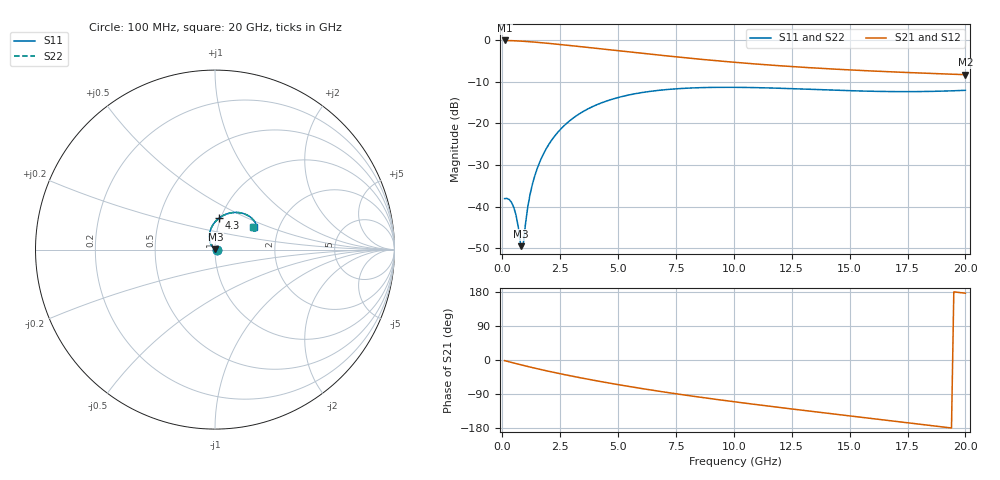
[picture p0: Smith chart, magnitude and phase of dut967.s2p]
! Touchstone file exported from HFSS 2024.1.0
!  File:  C:/UserFiles/LocalFiles/RDL_TSV_Batchsim/temp_RDL_TSV_967_1779970099.aedt
!  Generated:  08:27:22 PM May 28, 2026
!  Design:  RDL_TSV
!  Project:  temp_RDL_TSV_967_1779970099
!  Setup:  Setup1
!  Solution:  Sweep
! Variables:
!  dtsv = 8.63um
!  hbump = 3um
!  htsv = 66.36um
!  ldown = 690.71um
!  lrdl = 162.68um
!  p = 40
!  p1 = 54.11um
!  rhole = 10um
!  subl = 2722.85um
!  t = 450um
!  tdown = 3.22um
!  trdl = 2.37um
!  viad = 10um
!  wdown = 28.67um
!  wrdl = 29.25um
!  xbump = 18um
# GHz S MA R 50.000000
! Terminal data exported
! Port[1] = TM1_1_T1
! Port[2] = TM1_4_T1
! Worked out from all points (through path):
!   200 points, 100 MHz to 20 GHz, reference 50 ohm
!   highest |S21| = -0.11 dB at 100 MHz (marker M1); lowest = -8.3 dB at 20 GHz (marker M2)
!   group delay of S21, straight-line fit = 24.1 ps
!   lowest |S11| = -49.5 dB at 800 MHz (marker M3), VSWR 1.01, Z = 50.3 + j0.2 ohm
!   |S11| at or under -10 dB: start of sweep to end of sweep
!   |S22| runs from -49.4 to -11.4 dB; largest |S21 - S12| = 9.4e-15
!   S11 on the Smith chart (normalised r, x): 100 MHz: 1.03, +0.00; 4.3 GHz: 0.98, +0.36; 20 GHz: 1.49, +0.40
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0.1  0.01251 2.5  0.987 -1.7  0.987 -1.7  0.01251 2.5
! Gamma 0 0 0 0
! Port Impedance 50 0 50 0
0.3  0.0122 2.6  0.9836 -4.9  0.9836 -4.9  0.0122 2.6
0.5  0.009739 1.6  0.9788 -8.0  0.9788 -8.0  0.009745 1.6
0.6  0.007767 3.5  0.9759 -9.6  0.9759 -9.6  0.007776 3.4
0.7  0.00548 10.8  0.9728 -11.1  0.9728 -11.1  0.005492 10.7
0.8  0.00336 36.3  0.9693 -12.6  0.9693 -12.6  0.003371 36.1
0.9  0.003397 93.3  0.9655 -14.2  0.9655 -14.2  0.00339 92.9
1  0.006173 121.8  0.9614 -15.7  0.9614 -15.7  0.006153 121.6
1.1  0.009904 130.2  0.9571 -17.1  0.9571 -17.1  0.009876 130.1
1.3  0.01857 133.0  0.9477 -20.1  0.9477 -20.1  0.01853 133.0
1.5  0.02827 131.0  0.9377 -22.9  0.9377 -22.9  0.02822 131.0
1.7  0.03871 127.7  0.9271 -25.7  0.9271 -25.7  0.03864 127.7
2.1  0.06096 120.1  0.905 -31.1  0.905 -31.1  0.06087 120.0
2.5  0.08397 112.3  0.8822 -36.3  0.8822 -36.3  0.08384 112.3
3.5  0.1391 94.7  0.8255 -48.4  0.8255 -48.4  0.1389 94.6
4.3  0.1768 82.7  0.7815 -57.5  0.7815 -57.5  0.1765 82.7
5.4  0.217 68.9  0.724 -69.1  0.724 -69.1  0.2166 68.9
6.8  0.2496 55.1  0.6577 -82.7  0.6577 -82.7  0.2492 55.1
10.1  0.2704 34.4  0.538 -110.9  0.538 -110.9  0.2698 34.3
13.4  0.2554 25.5  0.4629 -135.8  0.4629 -135.8  0.2546 25.5
16.7  0.2406 25.7  0.4158 -159.8  0.4158 -159.8  0.2397 25.6
20  0.249 30.1  0.3835 176.2  0.3835 176.2  0.248 30.1
